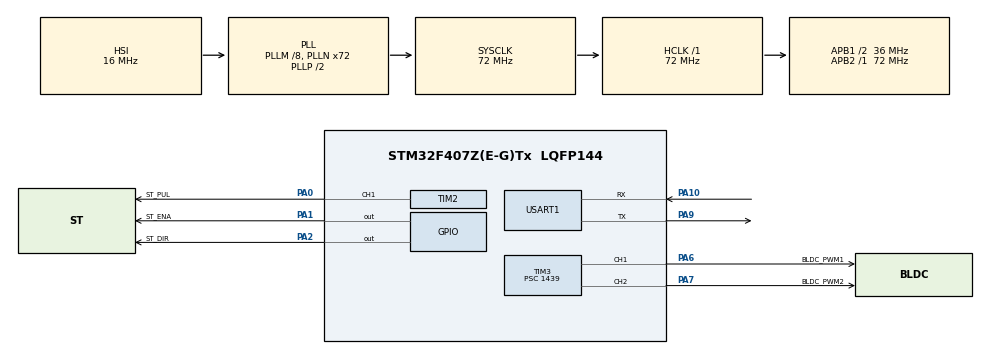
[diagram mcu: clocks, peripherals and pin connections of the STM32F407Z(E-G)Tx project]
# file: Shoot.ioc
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Mcu.Family=STM32F4
Mcu.Name=STM32F407Z(E-G)Tx
Mcu.Package=LQFP144
NVIC.PriorityGroup=NVIC_PRIORITYGROUP_4
NVIC.TIM2_IRQn=true\:0\:0\:false\:false\:true\:true\:true\:true
NVIC.TIM3_IRQn=true\:0\:0\:false\:false\:true\:true\:true\:true
NVIC.USART1_IRQn=true\:0\:0\:false\:false\:true\:true\:true\:true
PA0-WKUP.GPIO_Label=ST_PUL
PA0-WKUP.Signal=S_TIM2_CH1_ETR
PA1.GPIO_Label=ST_ENA
PA1.Signal=GPIO_Output
PA10.Mode=Asynchronous
PA10.Signal=USART1_RX
PA13.Mode=JTAG_4_pins
PA13.Signal=SYS_JTMS-SWDIO
PA14.Mode=JTAG_4_pins
PA14.Signal=SYS_JTCK-SWCLK
PA15.Mode=JTAG_4_pins
PA15.Signal=SYS_JTDI
PA2.GPIO_Label=ST_DIR
PA2.Signal=GPIO_Output
PA6.GPIO_Label=BLDC_PWM1
PA6.Signal=S_TIM3_CH1
PA7.GPIO_Label=BLDC_PWM2
PA7.Signal=S_TIM3_CH2
PA9.Mode=Asynchronous
PA9.Signal=USART1_TX
PB3.Mode=JTAG_4_pins
PB3.Signal=SYS_JTDO-SWO
PC14-OSC32_IN.Mode=LSE-External-Clock-Source
PC14-OSC32_IN.Signal=RCC_OSC32_IN
PC15-OSC32_OUT.Mode=LSE-External-Clock-Source
PC15-OSC32_OUT.Signal=RCC_OSC32_OUT
PH0-OSC_IN.Mode=HSE-External-Clock-Source
PH0-OSC_IN.Signal=RCC_OSC_IN
PH1-OSC_OUT.Mode=HSE-External-Clock-Source
PH1-OSC_OUT.Signal=RCC_OSC_OUT
ProjectManager.HeapSize=0x200
ProjectManager.StackSize=0x400
ProjectManager.TargetToolchain=CMake
RCC.48MHZClocksFreq_Value=36000000
RCC.AHBFreq_Value=72000000
RCC.APB1CLKDivider=RCC_HCLK_DIV2
RCC.APB1Freq_Value=36000000
RCC.APB1TimFreq_Value=72000000
RCC.APB2Freq_Value=72000000
RCC.APB2TimFreq_Value=72000000
RCC.CortexFreq_Value=72000000
RCC.HCLKFreq_Value=72000000
RCC.HSE_VALUE=8000000
RCC.HSI_VALUE=16000000
RCC.LSE_VALUE=32768
RCC.PLLM=8
RCC.PLLN=72
RCC.SYSCLKFreq_VALUE=72000000
RCC.SYSCLKSource=RCC_SYSCLKSOURCE_PLLCLK
RCC.VCOOutputFreq_Value=144000000
SH.S_TIM2_CH1_ETR.0=TIM2_CH1,PWM Generation1 CH1
SH.S_TIM3_CH1.0=TIM3_CH1,PWM Generation1 CH1
SH.S_TIM3_CH2.0=TIM3_CH2,PWM Generation2 CH2
TIM2.Channel-PWM\ Generation1\ CH1=TIM_CHANNEL_1
TIM2.Period=999
TIM2.Prescaler=359
TIM3.Channel-PWM\ Generation1\ CH1=TIM_CHANNEL_1
TIM3.Channel-PWM\ Generation2\ CH2=TIM_CHANNEL_2
TIM3.Period=999
TIM3.Prescaler=1439
USART1.VirtualMode=VM_ASYNC
VP_TIM2_VS_ClockSourceINT.Mode=Internal
VP_TIM3_VS_ClockSourceINT.Mode=Internal
board=custom

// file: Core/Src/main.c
/* USER CODE BEGIN Header */
/**
 ******************************************************************************
 * @file           : main.c
 * @brief          : Main program body
 ******************************************************************************
 * @attention
 *
 * Copyright (c) 2024 STMicroelectronics.
 * All rights reserved.
 *
 * This software is licensed under terms that can be found in the LICENSE file
 * in the root directory of this software component.
 * If no LICENSE file comes with this software, it is provided AS-IS.
 *
 ******************************************************************************
 */
/* USER CODE END Header */
#include "main.h"

#include "gpio.h"
#include "tim.h"
#include "usart.h"

/* USER CODE BEGIN Includes */
#include <stdio.h>

#include "bldc.h"
/* USER CODE END Includes */

/* USER CODE BEGIN PV */
BLDC_TypeDef blm1, blm2;
/* USER CODE END PV */

void SystemClock_Config(void);
/* USER CODE BEGIN PFP */
void Az_BLDC_Init(void);
void Az_SM_Init(void);
/* USER CODE END PFP */

int main(void) {

  /* MCU Configuration--------------------------------------------------------*/

  /* Reset of all peripherals, Initializes the Flash interface and the Systick.
   */
  HAL_Init();

  /* Configure the system clock */
  SystemClock_Config();

  /* Initialize all configured peripherals */
  MX_GPIO_Init();
  MX_TIM2_Init();
  MX_TIM3_Init();
  MX_USART1_UART_Init();
  /* USER CODE BEGIN 2 */
  printf("STM32 Start\n");

  // Initialize Brushless DC Motor
  // Az_BLDC_Init();
  // BLDC_SetSpeed(&blm1, 0.1);
  // BLDC_SetSpeed(&blm2, 0.1);

  // Initialize Step DC Motor
  Az_SM_Init();

  /* USER CODE END 2 */

  /* Infinite loop */
  /* USER CODE BEGIN WHILE */
  int i = 0;
  while (1) {
    /* USER CODE END WHILE */

    /* USER CODE BEGIN 3 */

    // printf("main loop: %5d\n", ++i);
    HAL_Delay(10000);
  }
  /* USER CODE END 3 */
}

void SystemClock_Config(void) {
  RCC_OscInitTypeDef RCC_OscInitStruct = {0};
  RCC_ClkInitTypeDef RCC_ClkInitStruct = {0};

  /** Configure the main internal regulator output voltage
   */
  __HAL_RCC_PWR_CLK_ENABLE();
  __HAL_PWR_VOLTAGESCALING_CONFIG(PWR_REGULATOR_VOLTAGE_SCALE1);

  /** Initializes the RCC Oscillators according to the specified parameters
   * in the RCC_OscInitTypeDef structure.
   */
  RCC_OscInitStruct.OscillatorType = RCC_OSCILLATORTYPE_HSI;
  RCC_OscInitStruct.HSIState = RCC_HSI_ON;
  RCC_OscInitStruct.HSICalibrationValue = RCC_HSICALIBRATION_DEFAULT;
  RCC_OscInitStruct.PLL.PLLState = RCC_PLL_ON;
  RCC_OscInitStruct.PLL.PLLSource = RCC_PLLSOURCE_HSI;
  RCC_OscInitStruct.PLL.PLLM = 8;
  RCC_OscInitStruct.PLL.PLLN = 72;
  RCC_OscInitStruct.PLL.PLLP = RCC_PLLP_DIV2;
  RCC_OscInitStruct.PLL.PLLQ = 4;
  if (HAL_RCC_OscConfig(&RCC_OscInitStruct) != HAL_OK) {
    Error_Handler();
  }

  /** Initializes the CPU, AHB and APB buses clocks
   */
  RCC_ClkInitStruct.ClockType = RCC_CLOCKTYPE_HCLK | RCC_CLOCKTYPE_SYSCLK |
                                RCC_CLOCKTYPE_PCLK1 | RCC_CLOCKTYPE_PCLK2;
  RCC_ClkInitStruct.SYSCLKSource = RCC_SYSCLKSOURCE_PLLCLK;
  RCC_ClkInitStruct.AHBCLKDivider = RCC_SYSCLK_DIV1;
  RCC_ClkInitStruct.APB1CLKDivider = RCC_HCLK_DIV2;
  RCC_ClkInitStruct.APB2CLKDivider = RCC_HCLK_DIV1;

  if (HAL_RCC_ClockConfig(&RCC_ClkInitStruct, FLASH_LATENCY_2) != HAL_OK) {
    Error_Handler();
  }
}

/* USER CODE BEGIN 4 */
int __io_putchar(int ch) {
  HAL_UART_Transmit(&huart1, (uint8_t *)&ch, 1, 0xFFFF);
  return ch;
}

void Az_BLDC_Init(void) {
  printf("BLDC Initialize");
  BLDC_Init(&blm1, &htim3, TIM_CHANNEL_1, 50, 100);
  BLDC_Init(&blm2, &htim3, TIM_CHANNEL_2, 50, 100);
  printf("  -->  Finished\n");
}

void Az_SM_Init(void) {
  printf("Step Motor Initialize");

  printf("  -->  Finished\n");
}
/* USER CODE END 4 */

void Error_Handler(void) {
  __disable_irq();
  while (1) {
  }
}

#ifdef USE_FULL_ASSERT
/**
 * @brief  Reports the name of the source file and the source line number
 *         where the assert_param error has occurred.
 * @param  file: pointer to the source file name
 * @param  line: assert_param error line source number
 * @retval None
 */
void assert_failed(uint8_t *file, uint32_t line) {
  /* USER CODE BEGIN 6 */
  /* User can add his own implementation to report the file name and line
     number, ex: printf("Wrong parameters value: file %s on line %d\r\n", file,
     line) */
  /* USER CODE END 6 */
}
#endif /* USE_FULL_ASSERT */
